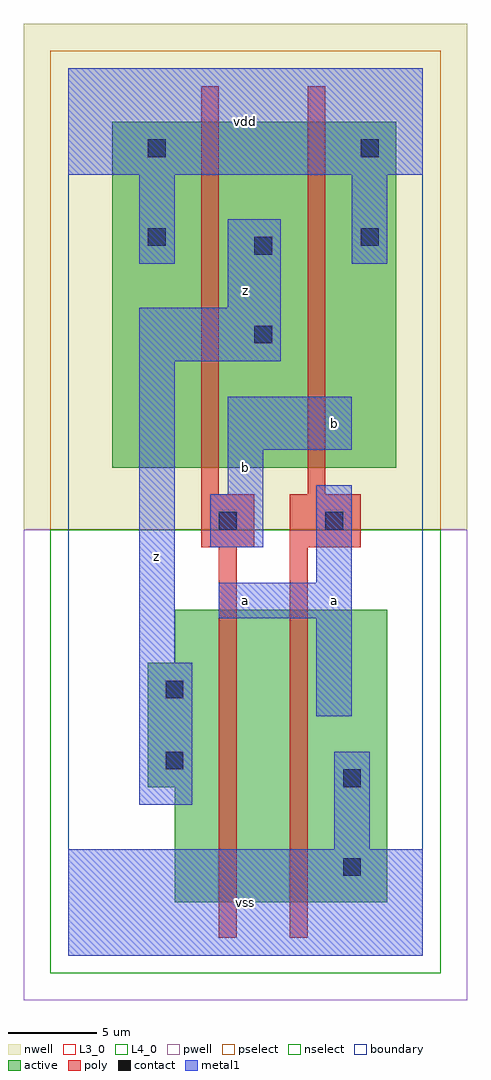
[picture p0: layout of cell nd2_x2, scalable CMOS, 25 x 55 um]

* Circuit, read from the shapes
.subckt nd2_x2 a b vdd vss z
M1 n1 b z VSUBS nfet w=16.5u l=1u
M2 vss a n1 VSUBS nfet w=16.5u l=1u
M3 z b vdd n2 pfet w=19.5u l=1u
M4 vdd a z n2 pfet w=19.5u l=1u
.ends

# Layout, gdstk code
import gdstk
lib = gdstk.Library(unit=1e-6, precision=1e-09)
def R(c, l, rs):  # rectangles x0, y0, x1, y1
    for r in rs: c.add(gdstk.rectangle(r[:2], r[2:], *l))
L3_0 = (3, 0)
L4_0 = (4, 0)
contact = (25, 0)
pwell = (41, 0)
nwell = (42, 0)
active = (43, 0)
pselect = (44, 0)
nselect = (45, 0)
poly = (46, 0)
metal1 = (49, 0)
boundary = (63, 0)

nd2_x2 = lib.new_cell('nd2_x2')
R(nd2_x2, L3_0, [(6,3,18,9.5), (4.5,9.5,18,16.5), (6,16.5,18,19.5)])
R(nd2_x2, L4_0, [(2.5,27.5,18.5,47)])
R(nd2_x2, contact, [(15.5,4.5,16.5,5.5), (15.5,9.5,16.5,10.5), (5.5,10.5,6.5,11.5), (5.5,14.5,6.5,15.5), (8.5,24,9.5,25), (14.5,24,15.5,25), (10.5,34.5,11.5,35.5), (10.5,39.5,11.5,40.5), (4.5,40,5.5,41), (16.5,40,17.5,41), (4.5,45,5.5,46), (16.5,45,17.5,46)])
R(nd2_x2, pwell, [(-2.5,-2.5,22.5,24)])
R(nd2_x2, nwell, [(-2.5,24,22.5,52.5)])
R(nd2_x2, active, [(6,3,18,9.5), (4.5,9.5,18,16.5), (6,16.5,18,19.5), (2.5,27.5,18.5,47)])
R(nd2_x2, pselect, [(-1,24,21,51)])
R(nd2_x2, nselect, [(-1,-1,21,24)])
R(nd2_x2, poly, [(8.5,1,9.5,23), (12.5,1,13.5,23), (7.5,23,10.5,26), (12.5,23,16.5,26), (7.5,26,8.5,49), (13.5,26,14.5,49)])
R(nd2_x2, metal1, [(0,0,20,6), (0,0,20,6), (15,6,17,11.5), (15,6,17,11.5), (4,8.5,7,16.5), (4,8.5,7,16.5), (14,13.5,16,19), (14,13.5,16,19), (4,16.5,6,33.5), (4,16.5,6,33.5), (8.5,19,16,21), (8.5,19,16,21), (14,21,16,26.5), (14,21,16,26.5), (8,23,11,26), (8,23,11,26), (9,26,11,28.5), (9,26,11,28.5), (9,28.5,16,31.5), (9,28.5,16,31.5), (4,33.5,12,36.5), (4,33.5,12,36.5), (9,36.5,12,41.5), (9,36.5,12,41.5), (4,39,6,44), (4,39,6,44), (16,39,18,44), (16,39,18,44), (0,44,20,50), (0,44,20,50)])
R(nd2_x2, boundary, [(0,0,20,50)])
nd2_x2.add(gdstk.Label('z', (5,22.5), layer=49, texttype=0))
nd2_x2.add(gdstk.Label('vss', (10,3), layer=49, texttype=0))
nd2_x2.add(gdstk.Label('a', (10,20), layer=49, texttype=0))
nd2_x2.add(gdstk.Label('b', (10,27.5), layer=49, texttype=0))
nd2_x2.add(gdstk.Label('z', (10,37.5), layer=49, texttype=0))
nd2_x2.add(gdstk.Label('vdd', (10,47), layer=49, texttype=0))
nd2_x2.add(gdstk.Label('a', (15,20), layer=49, texttype=0))
nd2_x2.add(gdstk.Label('b', (15,30), layer=49, texttype=0))

lib.write_gds('nd2_x2.gds')
